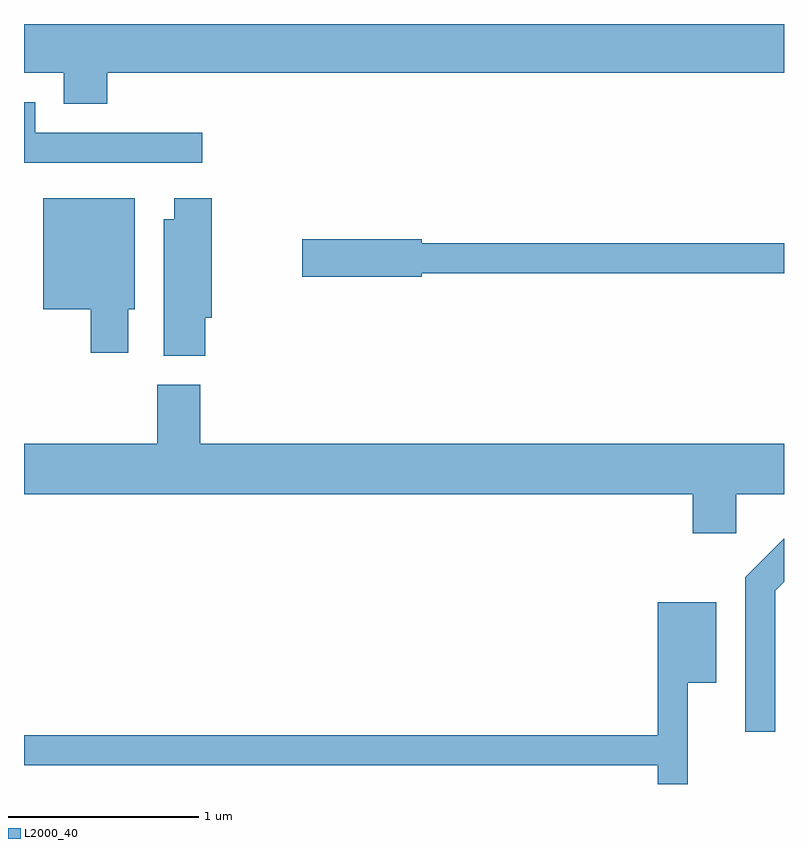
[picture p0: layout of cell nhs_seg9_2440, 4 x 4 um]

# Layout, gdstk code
import gdstk
lib = gdstk.Library(unit=1e-6, precision=1e-09)
def P(c, l, *ps):  # polygons
    for p in ps: c.add(gdstk.Polygon(p, *l))
L2000_40 = (2000, 40)

nhs_seg9_2440 = lib.new_cell('nhs_seg9_2440')
P(nhs_seg9_2440, L2000_40, [(259.611,2076.432),(255.611,2076.432),(255.611,2076.176),(255.821,2076.176),(255.821,2076.011),(256.049,2076.011),(256.049,2076.176),(259.611,2076.176)],
  [(256.548,2075.859),(255.669,2075.859),(255.669,2076.019),(255.611,2076.019),(255.611,2075.701),(256.548,2075.701)],
  [(256.564,2074.886),(256.599,2074.886),(256.599,2075.514),(256.401,2075.514),(256.401,2075.404),(256.346,2075.404),(256.346,2074.686),(256.564,2074.686)],
  [(256.159,2074.931),(256.194,2074.931),(256.194,2075.514),(255.711,2075.514),(255.711,2074.931),(255.961,2074.931),(255.961,2074.701),(256.159,2074.701)],
  [(257.704,2075.121),(259.611,2075.121),(259.611,2075.279),(257.704,2075.279),(257.704,2075.299),(257.076,2075.299),(257.076,2075.101),(257.704,2075.101)],
  [(259.359,2073.956),(259.611,2073.956),(259.611,2074.224),(256.539,2074.224),(256.539,2074.534),(256.311,2074.534),(256.311,2074.224),(255.611,2074.224),(255.611,2073.956),(259.131,2073.956),(259.131,2073.751),(259.359,2073.751)],
  [(259.564,2073.449),(259.611,2073.496),(259.611,2073.724),(259.609,2073.724),(259.406,2073.521),(259.406,2072.708),(259.564,2072.708)],
  [(259.104,2072.966),(259.254,2072.966),(259.254,2073.389),(258.946,2073.389),(258.946,2072.689),(255.611,2072.689),(255.611,2072.531),(258.946,2072.531),(258.946,2072.432),(259.104,2072.432)])

lib.write_gds('nhs_seg9_2440.gds')
